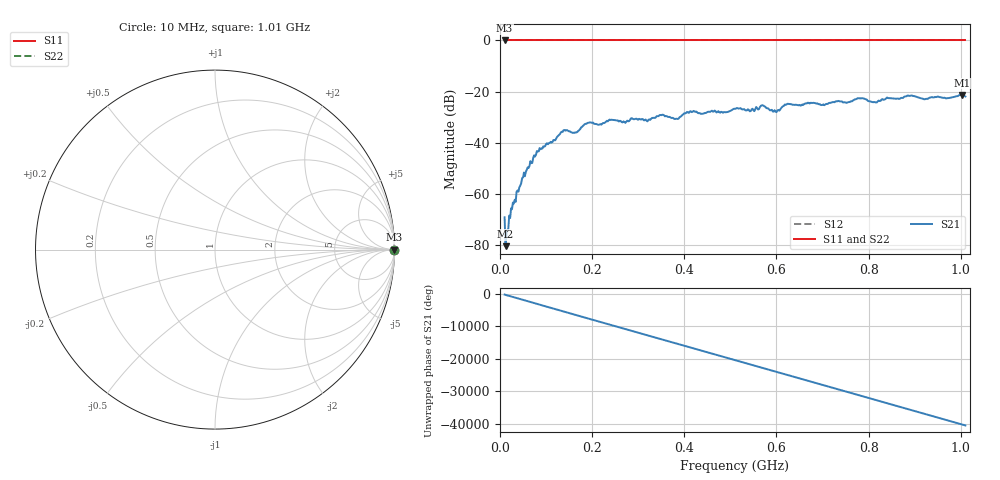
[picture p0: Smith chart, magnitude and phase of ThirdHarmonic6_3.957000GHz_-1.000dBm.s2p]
! 8/17/2025 2:02:37 PM
! C:\ANRITSUVNA\TEMP\TEMP.S2P
! CHANNEL.1
! TR.MEASUREMENT
! RAW.DATA
! RF.CORRECTION.OFF
! AVERAGING.OFF
! IF.BANDWIDTH: 5KHZ
! SWEEPTYPE:  FREQ.SWEEP(Linear)
! Reference Plane Port Info
! PORT:  PORT1  PORT2
! DISTANCE:  0  m  0  m
! TIME:  0  s  0  s
! PHASE.OFFSET:  0  deg.  0  deg.
! LOSS:  0  dB  0  dB
! REF.LOSS:  0  dB  0  dB
! REF.FREQ:  0  Hz  0  Hz
! Power Info
! POWER:  -20  dBm  -20  dBm
! EFF.POWER:  -20  dBm  -20  dBm
! SOURCE.ATTEN:  0  dB  0  dB
! TEST.ATTEN:  0  dB  0  dB
# GHZ S RI R 50.0
! FREQ.GHZ  S11RE  S11IM  S21RE  S21IM  S12RE  S12IM  S22RE  S22IM
!; PortSelection: Port_12
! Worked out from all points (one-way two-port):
!   501 points, 10 MHz to 1.01 GHz, reference 50 ohm
!   highest |S21| = -21.30 dB at 1.002 GHz (marker M1); lowest = -80.5 dB at 12 MHz (marker M2)
!   lowest |S11| = 0.0 dB at 10 MHz (marker M3)
!   |S11| at or under -10 dB: nowhere
!   |S22| runs from 0.0 to 0.0 dB; largest |S21 - S12| = 1.1
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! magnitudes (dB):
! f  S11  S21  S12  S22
! 10 MHz  0.0  -69.2  0.0  0.0
! 12 MHz  0.0  -80.5  0.0  0.0
! 16 MHz  0.0  -74.0  0.0  0.0
! 24 MHz  0.0  -65.7  0.0  0.0
! 48 MHz  0.0  -53.9  0.0  0.0
! 82 MHz  0.0  -43.4  0.0  0.0
! 136 MHz  0.0  -35.8  0.0  0.0
! 162 MHz  0.0  -36.1  0.0  0.0
! 178 MHz  0.0  -33.8  0.0  0.0
! 344 MHz  0.0  -29.6  0.0  0.0
! 384 MHz  0.0  -30.6  0.0  0.0
! 410 MHz  0.0  -28.3  0.0  0.0
! 510 MHz  0.0  -26.7  0.0  0.0
! 570 MHz  0.0  -25.4  0.0  0.0
! 596 MHz  0.0  -27.3  0.0  0.0
! 622 MHz  0.0  -25.0  0.0  0.0
! 678 MHz  0.0  -24.5  0.0  0.0
! 780 MHz  0.0  -22.6  0.0  0.0
! 814 MHz  0.0  -24.2  0.0  0.0
! 844 MHz  0.0  -22.6  0.0  0.0
! 1.002 GHz  0.0  -21.3  0.0  0.0
! 1.01 GHz  0.0  -21.9  0.0  0.0
